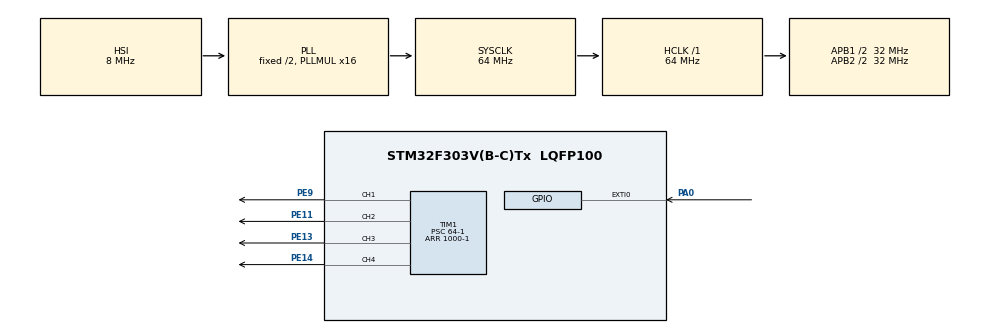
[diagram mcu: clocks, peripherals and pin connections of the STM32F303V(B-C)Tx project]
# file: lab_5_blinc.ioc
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Mcu.Family=STM32F3
Mcu.Name=STM32F303V(B-C)Tx
Mcu.Package=LQFP100
NVIC.EXTI0_IRQn=true\:0\:0\:false\:false\:true\:true\:true
NVIC.PriorityGroup=NVIC_PRIORITYGROUP_0
PA0.Signal=GPXTI0
PE11.GPIO_Speed=GPIO_SPEED_FREQ_HIGH
PE11.Signal=S_TIM1_CH2
PE13.GPIO_Speed=GPIO_SPEED_FREQ_HIGH
PE13.Signal=S_TIM1_CH3
PE14.GPIO_Speed=GPIO_SPEED_FREQ_HIGH
PE14.Signal=S_TIM1_CH4
PE9.GPIO_Speed=GPIO_SPEED_FREQ_HIGH
PE9.Signal=S_TIM1_CH1
PF0-OSC_IN.GPIO_Label=OSC_IN
PF0-OSC_IN.Mode=HSE-External-Oscillator
PF0-OSC_IN.Signal=RCC_OSC_IN
PF1-OSC_OUT.Mode=HSE-External-Oscillator
PF1-OSC_OUT.Signal=RCC_OSC_OUT
ProjectManager.HeapSize=0x200
ProjectManager.StackSize=0x400
ProjectManager.TargetToolchain=SW4STM32
RCC.AHBFreq_Value=64000000
RCC.APB1CLKDivider=RCC_HCLK_DIV2
RCC.APB1Freq_Value=32000000
RCC.APB1TimFreq_Value=64000000
RCC.APB2CLKDivider=RCC_HCLK_DIV2
RCC.APB2Freq_Value=32000000
RCC.APB2TimFreq_Value=64000000
RCC.CortexFreq_Value=64000000
RCC.HCLKFreq_Value=64000000
RCC.HSE_VALUE=8000000
RCC.HSI_VALUE=8000000
RCC.LSE_VALUE=32768
RCC.PLLMUL=RCC_PLL_MUL16
RCC.SYSCLKFreq_VALUE=64000000
RCC.SYSCLKSourceVirtual=RCC_SYSCLKSOURCE_PLLCLK
RCC.USBFreq_Value=64000000
SH.S_TIM1_CH1.0=TIM1_CH1,PWM Generation1 CH1
SH.S_TIM1_CH2.0=TIM1_CH2,PWM Generation2 CH2
SH.S_TIM1_CH3.0=TIM1_CH3,PWM Generation3 CH3
SH.S_TIM1_CH4.0=TIM1_CH4,PWM Generation4 CH4
TIM1.AutoReloadPreload=TIM_AUTORELOAD_PRELOAD_DISABLE
TIM1.Channel-PWM\ Generation1\ CH1=TIM_CHANNEL_1
TIM1.Channel-PWM\ Generation2\ CH2=TIM_CHANNEL_2
TIM1.Channel-PWM\ Generation3\ CH3=TIM_CHANNEL_3
TIM1.Channel-PWM\ Generation4\ CH4=TIM_CHANNEL_4
TIM1.OCFastMode_PWM-PWM\ Generation1\ CH1=TIM_OCFAST_ENABLE
TIM1.OCFastMode_PWM-PWM\ Generation2\ CH2=TIM_OCFAST_ENABLE
TIM1.OCFastMode_PWM-PWM\ Generation3\ CH3=TIM_OCFAST_ENABLE
TIM1.OCFastMode_PWM-PWM\ Generation4\ CH4=TIM_OCFAST_ENABLE
TIM1.Period=1000-1
TIM1.Prescaler=64-1
TIM1.Pulse-PWM\ Generation2\ CH2=333
TIM1.Pulse-PWM\ Generation3\ CH3=666
TIM1.Pulse-PWM\ Generation4\ CH4=999
VP_TIM1_VS_ClockSourceINT.Mode=Internal
board=STM32F3DISCOVERY

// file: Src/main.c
/* USER CODE BEGIN Header */
/**
  ******************************************************************************
  * @file           : main.c
  * @brief          : Main program body
  ******************************************************************************
  * @attention
  *
  * <h2><center>&copy; Copyright (c) 2019 STMicroelectronics.
  * All rights reserved.</center></h2>
  *
  * This software component is licensed by ST under BSD 3-Clause license,
  * the "License"; You may not use this file except in compliance with the
  * License. You may obtain a copy of the License at:
  *                        opensource.org/licenses/BSD-3-Clause
  *
  ******************************************************************************
  */
/* USER CODE END Header */

#include "main.h"
#include "tim.h"
#include "gpio.h"

void SystemClock_Config(void);

/* USER CODE BEGIN 0 */
volatile int8_t directrion = 0;
/* USER CODE END 0 */

int main(void)
{

  /* MCU Configuration--------------------------------------------------------*/

  /* Reset of all peripherals, Initializes the Flash interface and the Systick. */
  HAL_Init();

  /* Configure the system clock */
  SystemClock_Config();

  /* USER CODE BEGIN SysInit */

  /* TIM3 interrupt Init */
//     HAL_NVIC_SetPriority(TIM3_IRQn, 0, 0);
//     HAL_NVIC_EnableIRQ(TIM3_IRQn);
//     HAL_NVIC_DisableIRQ(TIM3_IRQn);

  /* USER CODE END SysInit */

  /* Initialize all configured peripherals */
  MX_GPIO_Init();
  MX_TIM1_Init();
  /* USER CODE BEGIN 2 */
  HAL_TIM_PWM_Start(&htim1, TIM_CHANNEL_1);
  HAL_TIM_PWM_Start(&htim1, TIM_CHANNEL_2);
  HAL_TIM_PWM_Start(&htim1, TIM_CHANNEL_3);
  HAL_TIM_PWM_Start(&htim1, TIM_CHANNEL_4);

  const uint16_t brightnes_2[] = {100, 0, 0, 999};
  const uint16_t brightnes_1[] = {0, 0, 100, 999};
  const uint16_t* br[] = {brightnes_1, NULL, brightnes_2};
  const uint8_t num_states = 4;
  uint8_t state = 0;

  // DECLARED AS A GLOBAL VARIABLE
//  volatile uint8_t directrion = 1;

  /* USER CODE END 2 */

  /* Infinite loop */
  /* USER CODE BEGIN WHILE */
  while (1) {
	// circular toggle
//		for(int i = 8; i < 16; i++){
//			HAL_Delay(1000);
//			GPIOE->ODR ^= (1<<i);
//		}
	__disable_irq();
    TIM1->CCR1 = br[directrion][(state) % num_states];
    TIM1->CCR2 = br[directrion][(state + 1) % num_states];
    TIM1->CCR3 = br[directrion][(state + 2) % num_states];
    TIM1->CCR4 = br[directrion][(state + 3) % num_states];
    state = (state + directrion - 1) % num_states;
    __enable_irq();
    HAL_Delay(300);

//	HAL_GPIO_ToglePin(GPIOE, GPIO_PIN_15, GPIO_PIN_SET);
//	HAL_Delay(500);
    /* USER CODE END WHILE */

  }
}

void SystemClock_Config(void)
{
  RCC_OscInitTypeDef RCC_OscInitStruct = {0};
  RCC_ClkInitTypeDef RCC_ClkInitStruct = {0};
  RCC_PeriphCLKInitTypeDef PeriphClkInit = {0};

  /** Initializes the CPU, AHB and APB busses clocks
  */
  RCC_OscInitStruct.OscillatorType = RCC_OSCILLATORTYPE_HSI;
  RCC_OscInitStruct.HSIState = RCC_HSI_ON;
  RCC_OscInitStruct.HSICalibrationValue = RCC_HSICALIBRATION_DEFAULT;
  RCC_OscInitStruct.PLL.PLLState = RCC_PLL_ON;
  RCC_OscInitStruct.PLL.PLLSource = RCC_PLLSOURCE_HSI;
  RCC_OscInitStruct.PLL.PLLMUL = RCC_PLL_MUL16;
  if (HAL_RCC_OscConfig(&RCC_OscInitStruct) != HAL_OK)
  {
    Error_Handler();
  }
  /** Initializes the CPU, AHB and APB busses clocks
  */
  RCC_ClkInitStruct.ClockType = RCC_CLOCKTYPE_HCLK|RCC_CLOCKTYPE_SYSCLK
                              |RCC_CLOCKTYPE_PCLK1|RCC_CLOCKTYPE_PCLK2;
  RCC_ClkInitStruct.SYSCLKSource = RCC_SYSCLKSOURCE_PLLCLK;
  RCC_ClkInitStruct.AHBCLKDivider = RCC_SYSCLK_DIV1;
  RCC_ClkInitStruct.APB1CLKDivider = RCC_HCLK_DIV2;
  RCC_ClkInitStruct.APB2CLKDivider = RCC_HCLK_DIV2;

  if (HAL_RCC_ClockConfig(&RCC_ClkInitStruct, FLASH_LATENCY_2) != HAL_OK)
  {
    Error_Handler();
  }
  PeriphClkInit.PeriphClockSelection = RCC_PERIPHCLK_TIM1;
  PeriphClkInit.Tim1ClockSelection = RCC_TIM1CLK_HCLK;
  if (HAL_RCCEx_PeriphCLKConfig(&PeriphClkInit) != HAL_OK)
  {
    Error_Handler();
  }
}

/* USER CODE BEGIN 4 */

void HAL_GPIO_EXTI_Callback(uint16_t GPIO_Pin) {
 if(GPIO_Pin == GPIO_PIN_0)
 {
  static uint32_t last_change_tick;
  if( HAL_GetTick() - last_change_tick < 50 )
  {
   return;
  }
  last_change_tick = HAL_GetTick();
  if (directrion == 2)
	  directrion = 0;
  else
	  directrion = 2;
 }
}
/* USER CODE END 4 */

void Error_Handler(void)
{
}

/************************ (C) COPYRIGHT STMicroelectronics *****END OF FILE****/
